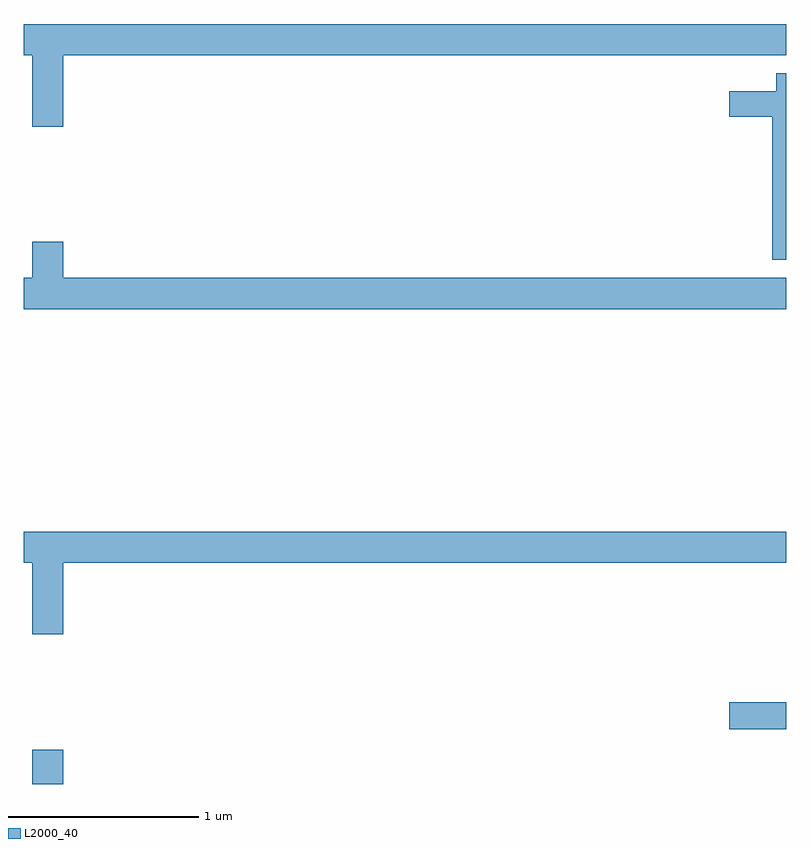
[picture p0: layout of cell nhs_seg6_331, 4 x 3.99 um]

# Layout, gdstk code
import gdstk
lib = gdstk.Library(unit=1e-6, precision=1e-09)
def R(c, l, rs):  # rectangles x0, y0, x1, y1
    for r in rs: c.add(gdstk.rectangle(r[:2], r[2:], *l))
def P(c, l, *ps):  # polygons
    for p in ps: c.add(gdstk.Polygon(p, *l))
L2000_40 = (2000, 40)

nhs_seg6_331 = lib.new_cell('nhs_seg6_331')
R(nhs_seg6_331, L2000_40, [(129.044,955.5,129.208,955.681), (132.702,955.786,133,955.928)])
P(nhs_seg6_331, L2000_40, [(129.208,959.324),(133,959.324),(133,959.488),(129,959.488),(129,959.324),(129.044,959.324),(129.044,958.95),(129.208,958.95)],
  [(133,959.23),(132.947,959.23),(132.947,959.134),(132.702,959.134),(132.702,959),(132.928,959),(132.928,958.251),(133,958.251)],
  [(133,958.156),(129.208,958.156),(129.208,958.345),(129.044,958.345),(129.044,958.156),(129,958.156),(129,957.992),(133,957.992)],
  [(129.208,956.66),(133,956.66),(133,956.824),(129,956.824),(129,956.66),(129.044,956.66),(129.044,956.286),(129.208,956.286)])

lib.write_gds('nhs_seg6_331.gds')
